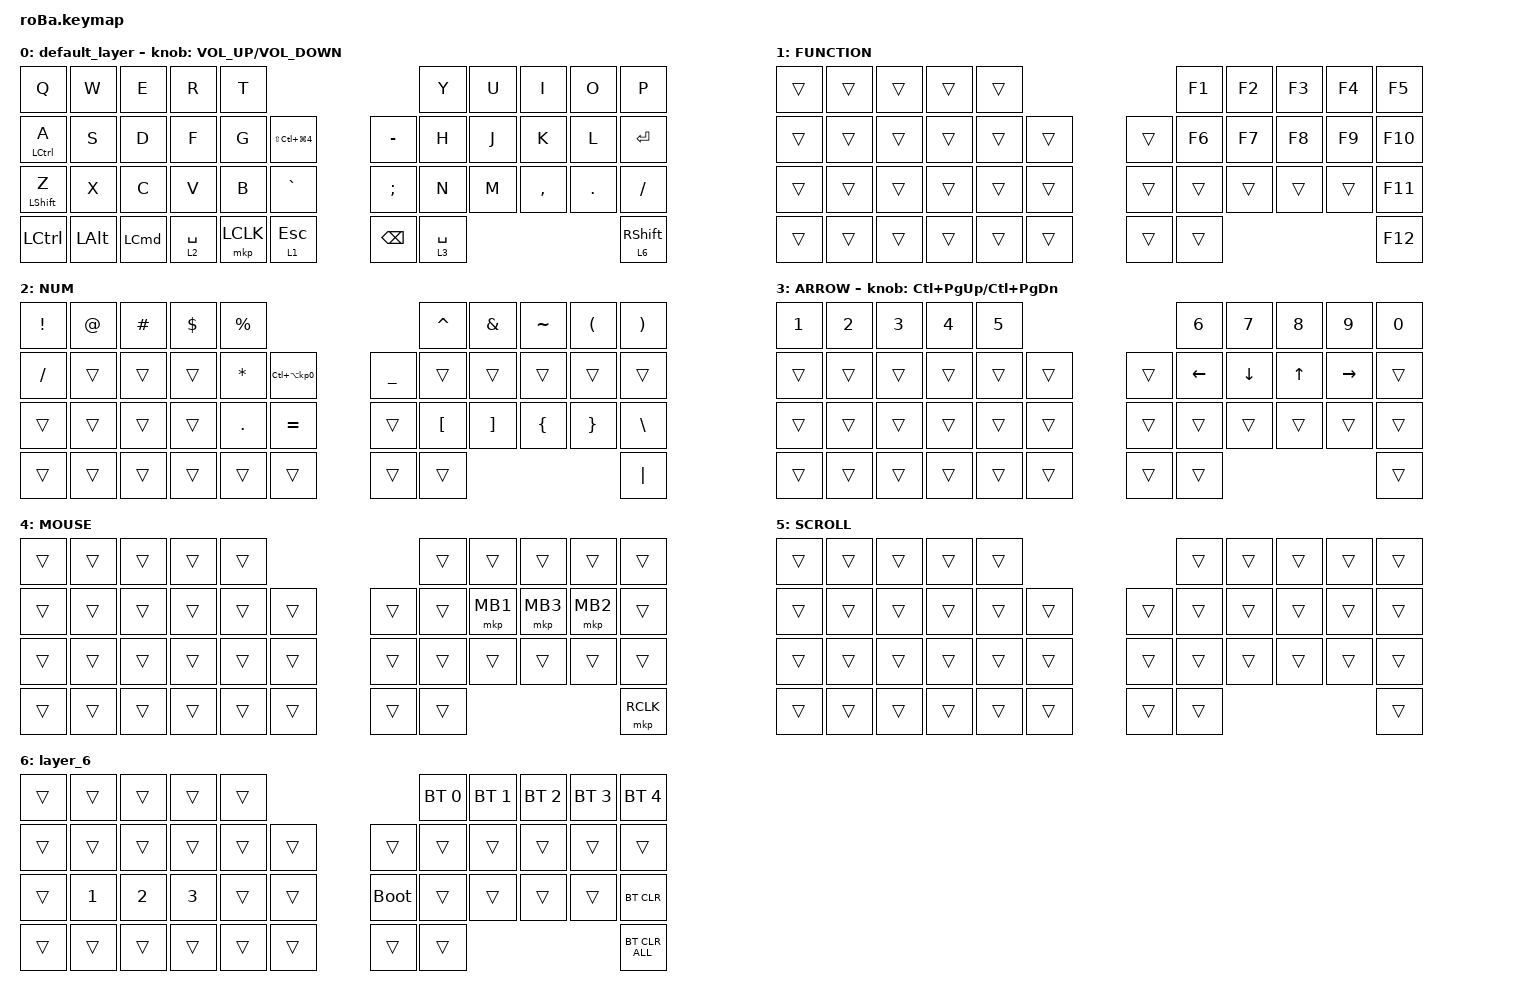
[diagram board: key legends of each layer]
#include <behaviors.dtsi>
#include <dt-bindings/zmk/bt.h>
#include <dt-bindings/zmk/keys.h>
#include <dt-bindings/zmk/pointing.h>

&mt {
    flavor = "balanced";
    quick-tap-ms = <0>;
};

&trackball {
    automouse-layer = <4>;
    scroll-layers = <5>;

    // arrows {
    //     layers = <3>;
    //     bindings =
    //         <&kp RIGHT_ARROW>,
    //         <&kp LEFT_ARROW>,
    //         <&kp UP_ARROW>,
    //         <&kp DOWN_ARROW>;
    //     tick = <10>;
    //     wait-ms = <5>;
    //     tap-ms = <5>;
    // };
};

/ {
    combos {
        compatible = "zmk,combos";

        tab {
            bindings = <&kp TAB>;
            key-positions = <11 12>;
        };

        shift_tab {
            bindings = <&kp LS(TAB)>;
            key-positions = <12 13>;
        };

        double_quotation {
            bindings = <&kp DOUBLE_QUOTES>;
            key-positions = <20 21>;
        };

        eq {
            bindings = <&kp EQUAL>;
            key-positions = <24 25>;
        };
    };

    macros {
        to_layer_0: to_layer_0 {
            compatible = "zmk,behavior-macro-one-param";
            #binding-cells = <1>;
            bindings = <&to 0 &macro_param_1to1 &kp MACRO_PLACEHOLDER>;
            label = "TO_LAYER_0";
        };
    };

    behaviors {
        lt_to_layer_0: lt_to_layer_0 {
            compatible = "zmk,behavior-hold-tap";
            label = "LAYER_TAP_TO_0";
            bindings = <&mo>, <&to_layer_0>;

            #binding-cells = <2>;
            tapping-term-ms = <200>;
        };
    };

    keymap {
        compatible = "zmk,keymap";

        default_layer {
            bindings = <
&kp Q             &kp W         &kp E             &kp R        &kp T                                                   &kp Y        &kp U  &kp I      &kp O    &kp P
&mt LCTRL A       &kp S         &kp D             &kp F        &kp G      &kp LS(LC(LG(NUMBER_4)))      &kp MINUS      &kp H        &kp J  &kp K      &kp L    &kp ENTER
&mt LEFT_SHIFT Z  &kp X         &kp C             &kp V        &kp B      &kp GRAVE                     &kp SEMICOLON  &kp N        &kp M  &kp COMMA  &kp DOT  &kp SLASH
&kp LCTRL         &kp LEFT_ALT  &kp LEFT_COMMAND  &lt 2 SPACE  &mkp LCLK  &lt 1 ESCAPE                  &kp BACKSPACE  &lt 3 SPACE                             &lt 6 RIGHT_SHIFT
            >;

            sensor-bindings = <&inc_dec_kp K_VOLUME_UP K_VOLUME_DOWN>;
        };

        FUNCTION {
            bindings = <
&trans  &trans  &trans  &trans  &trans                      &kp F1  &kp F2  &kp F3  &kp F4  &kp F5
&trans  &trans  &trans  &trans  &trans  &trans      &trans  &kp F6  &kp F7  &kp F8  &kp F9  &kp F10
&trans  &trans  &trans  &trans  &trans  &trans      &trans  &trans  &trans  &trans  &trans  &kp F11
&trans  &trans  &trans  &trans  &trans  &trans      &trans  &trans                          &kp F12
            >;
        };

        NUM {
            bindings = <
&kp EXCLAMATION  &kp AT_SIGN  &kp HASH  &kp DOLLAR  &kp PERCENT                                                &kp CARET         &kp AMPERSAND      &kp TILDE       &kp LEFT_PARENTHESIS  &kp RIGHT_PARENTHESIS
&kp SLASH        &trans       &trans    &trans      &kp ASTERISK  &kp LC(LA(KP_NUMBER_0))      &kp UNDERSCORE  &trans            &trans             &trans          &trans                &trans
&trans           &trans       &trans    &trans      &kp PERIOD    &kp EQUAL                    &trans          &kp LEFT_BRACKET  &kp RIGHT_BRACKET  &kp LEFT_BRACE  &kp RIGHT_BRACE       &kp BACKSLASH
&trans           &trans       &trans    &trans      &trans        &trans                       &trans          &trans                                                                     &kp PIPE
            >;
        };

        ARROW {
            bindings = <
&kp NUMBER_1  &kp NUMBER_2  &kp NUMBER_3  &kp NUMBER_4  &kp NUMBER_5                      &kp NUMBER_6    &kp NUMBER_7  &kp NUMBER_8  &kp NUMBER_9     &kp NUMBER_0
&trans        &trans        &trans        &trans        &trans        &trans      &trans  &kp LEFT_ARROW  &kp DOWN      &kp UP_ARROW  &kp RIGHT_ARROW  &trans
&trans        &trans        &trans        &trans        &trans        &trans      &trans  &trans          &trans        &trans        &trans           &trans
&trans        &trans        &trans        &trans        &trans        &trans      &trans  &trans                                                       &trans
            >;

            sensor-bindings = <&inc_dec_kp LC(PAGE_UP) LC(PAGE_DOWN)>;
        };

        MOUSE {
            bindings = <
&trans  &trans  &trans  &trans  &trans                      &trans  &trans    &trans    &trans    &trans
&trans  &trans  &trans  &trans  &trans  &trans      &trans  &trans  &mkp MB1  &mkp MB3  &mkp MB2  &trans
&trans  &trans  &trans  &trans  &trans  &trans      &trans  &trans  &trans    &trans    &trans    &trans
&trans  &trans  &trans  &trans  &trans  &trans      &trans  &trans                                &mkp RCLK
            >;
        };

        SCROLL {
            bindings = <
&trans  &trans  &trans  &trans  &trans                      &trans  &trans  &trans  &trans  &trans
&trans  &trans  &trans  &trans  &trans  &trans      &trans  &trans  &trans  &trans  &trans  &trans
&trans  &trans  &trans  &trans  &trans  &trans      &trans  &trans  &trans  &trans  &trans  &trans
&trans  &trans  &trans  &trans  &trans  &trans      &trans  &trans                          &trans
            >;
        };

        layer_6 {
            bindings = <
&trans  &trans        &trans        &trans        &trans                           &bt BT_SEL 0  &bt BT_SEL 1  &bt BT_SEL 2  &bt BT_SEL 3  &bt BT_SEL 4
&trans  &trans        &trans        &trans        &trans  &trans      &trans       &trans        &trans        &trans        &trans        &trans
&trans  &kp NUMBER_1  &kp NUMBER_2  &kp NUMBER_3  &trans  &trans      &bootloader  &trans        &trans        &trans        &trans        &bt BT_CLR
&trans  &trans        &trans        &trans        &trans  &trans      &trans       &trans                                                  &bt BT_CLR_ALL
            >;
        };
    };
};
